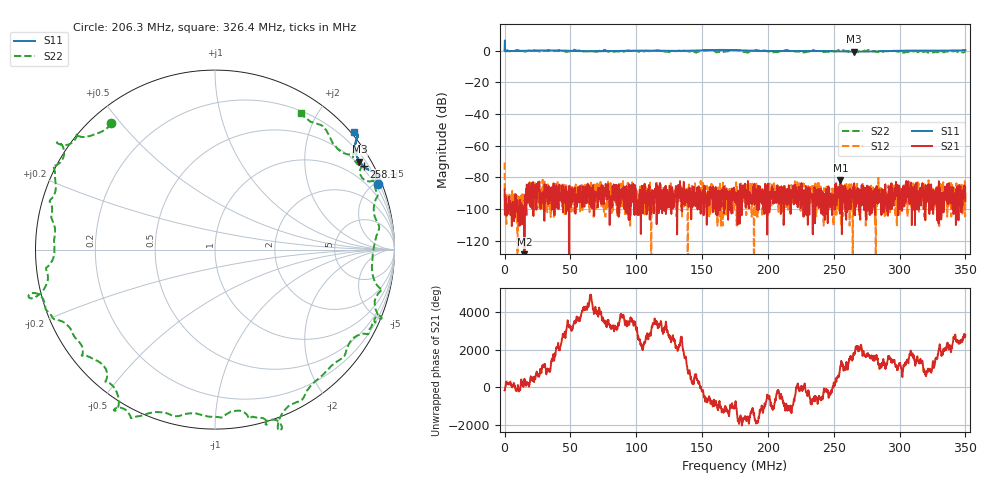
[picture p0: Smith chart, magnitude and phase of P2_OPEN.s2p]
# Hz S RI R 50
! RAW DATA - UNCALIBRATED
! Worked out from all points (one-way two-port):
!   1601 points, 30 kHz to 350 MHz, reference 50 ohm
!   highest |S21| = -81.76 dB at 255.1 MHz (marker M1); lowest = -192.0 dB at 15.12 MHz (marker M2)
!   lowest |S11| = -0.5 dB at 265.6 MHz (marker M3), VSWR 33.61, Z = 20.2 + j176 ohm
!   |S11| at or under -10 dB: nowhere
!   |S22| runs from -1.1 to 0.7 dB; largest |S21 - S12| = 0.00025
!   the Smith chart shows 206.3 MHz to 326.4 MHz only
!   S11 on the Smith chart (normalised r, x): 206.3 MHz: 0.29, +5.12; 258.1 MHz: 0.40, +3.80; 326.4 MHz: -0.08, +2.73
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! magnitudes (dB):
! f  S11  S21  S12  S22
! 30 kHz  0.5  -87.5  -70.6  0.4
! 1.999 MHz  -0.2  -97.9  -102.2  0.4
! 15.12 MHz  0.0  -192.0  -99.7  -0.4
! 58.43 MHz  -0.2  -90.4  -88.8  -0.4
! 116.8 MHz  0.0  -87.3  -85.5  0.4
! 145.3 MHz  0.2  -89.8  -96.0  -1.1
! 155.1 MHz  0.5  -88.9  -88.8  0.5
! 164.3 MHz  0.6  -91.3  -110.5  -0.8
! 175 MHz  0.5  -95.9  -88.7  0.5
! 183.5 MHz  0.2  -96.0  -103.8  -0.8
! 191.9 MHz  0.0  -87.4  -88.9  0.4
! 206.3 MHz  -0.2  -92.0  -92.6  -0.8
! 213.9 MHz  -0.2  -89.6  -99.5  0.5
! 227.3 MHz  -0.1  -88.0  -83.9  -0.9
! 233.4 MHz  -0.1  -90.5  -94.5  0.4
! 247.2 MHz  -0.2  -98.7  -92.1  -0.9
! 255.1 MHz  -0.4  -81.8  -85.7  0.2
! 258.1 MHz  -0.4  -91.6  -98.4  0.2
! 265.6 MHz  -0.5  -83.7  -89.3  -0.6
! 291.8 MHz  -0.1  -85.8  -86.7  -0.2
! 326.4 MHz  0.2  -91.7  -88.8  -0.9
! 350 MHz  0.4  -95.1  -88.8  -0.4
